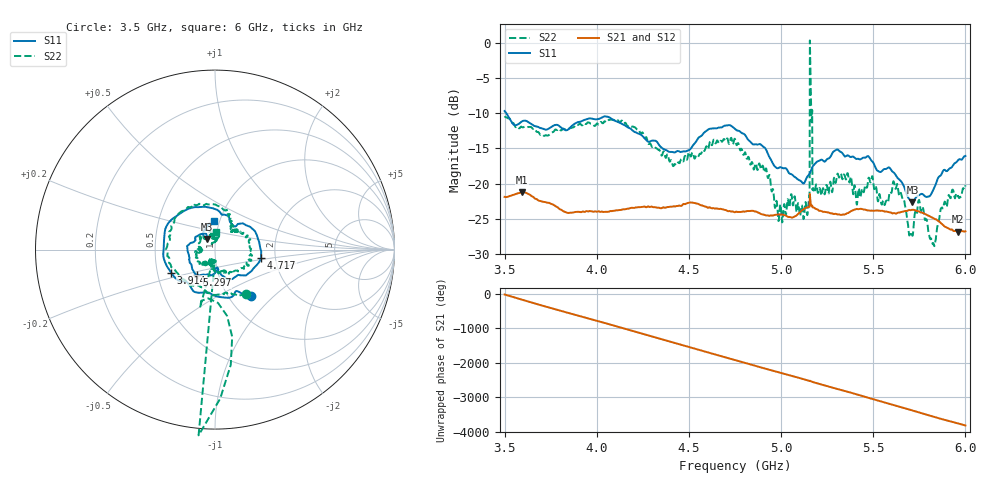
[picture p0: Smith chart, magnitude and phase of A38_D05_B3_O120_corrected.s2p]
! Created with skrf 1.9.0 (http://scikit-rf.org).
# Hz S RI R 50.0
!freq ReS11 ImS11 ReS21 ImS21 ReS12 ImS12 ReS22 ImS22
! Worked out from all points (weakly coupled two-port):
!   1601 points, 3.5 GHz to 6 GHz, reference 50 ohm
!   highest |S21| = -21.24 dB at 3.592 GHz (marker M1); lowest = -26.8 dB at 5.958 GHz (marker M2)
!   lowest |S11| = -22.6 dB at 5.713 GHz (marker M3), VSWR 1.16, Z = 45.4 + j5.36 ohm
!   |S11| at or under -10 dB: 3.509 GHz to end of sweep
!   |S22| runs from -28.9 to 0.3 dB; largest |S21 - S12| = 0.00093
!   S11 on the Smith chart (normalised r, x): 3.5 GHz: 1.27, -0.73; 3.914 GHz: 0.59, -0.16; 4.717 GHz: 1.68, -0.17; 5.297 GHz: 0.79, -0.23; 6 GHz: 0.94, +0.30
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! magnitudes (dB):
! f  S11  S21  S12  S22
! 3.5 GHz  -9.7  -21.9  -21.9  -10.4
! 3.592 GHz  -11.2  -21.2  -21.2  -11.9
! 3.914 GHz  -11.2  -24.1  -24.0  -11.6
! 3.917 GHz  -11.2  -24.0  -24.0  -11.7
! 4.334 GHz  -14.4  -23.4  -23.4  -15.2
! 4.717 GHz  -11.7  -23.9  -24.0  -14.4
! 4.75 GHz  -12.2  -24.1  -24.0  -13.7
! 4.928 GHz  -15.8  -24.5  -24.5  -19.2
! 4.997 GHz  -17.7  -24.4  -24.4  -23.0
! 5.134 GHz  -19.4  -23.4  -23.4  -22.8
! 5.156 GHz  -18.5  -21.5  -21.4  0.3
! 5.167 GHz  -17.8  -23.1  -23.1  -10.6
! 5.183 GHz  -17.2  -23.5  -23.4  -21.1
! 5.297 GHz  -15.2  -24.3  -24.3  -19.9
! 5.584 GHz  -17.7  -24.1  -24.0  -22.0
! 5.62 GHz  -18.7  -24.2  -24.2  -20.7
! 5.713 GHz  -22.6  -23.7  -23.7  -27.4
! 5.755 GHz  -21.6  -24.1  -24.0  -23.3
! 5.828 GHz  -20.8  -25.0  -24.9  -28.7
! 5.877 GHz  -18.3  -25.8  -25.8  -23.5
! 5.958 GHz  -16.8  -26.8  -26.7  -21.8
! 6 GHz  -16.1  -26.8  -26.8  -20.2
